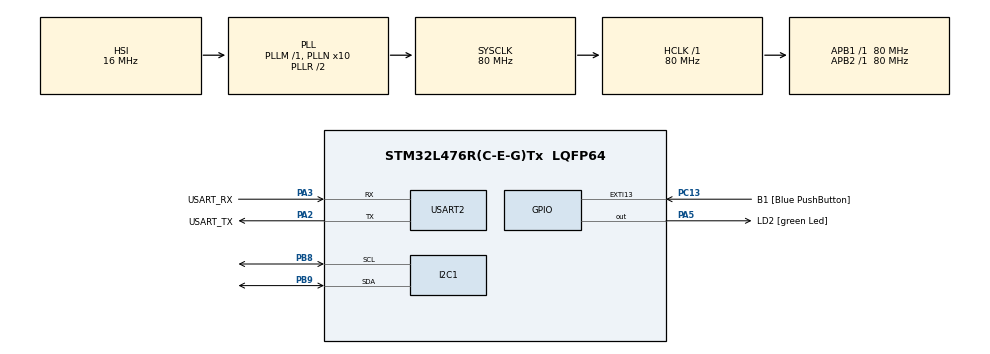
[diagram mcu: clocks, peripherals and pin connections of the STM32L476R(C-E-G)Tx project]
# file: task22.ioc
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I2C1.Timing=0x10909CEC
Mcu.Family=STM32L4
Mcu.Name=STM32L476R(C-E-G)Tx
Mcu.Package=LQFP64
NVIC.PriorityGroup=NVIC_PRIORITYGROUP_4
PA13\ (JTMS-SWDIO).GPIO_Label=TMS
PA13\ (JTMS-SWDIO).Mode=Serial_Wire
PA13\ (JTMS-SWDIO).Signal=SYS_JTMS-SWDIO
PA14\ (JTCK-SWCLK).GPIO_Label=TCK
PA14\ (JTCK-SWCLK).Mode=Serial_Wire
PA14\ (JTCK-SWCLK).Signal=SYS_JTCK-SWCLK
PA2.GPIO_Label=USART_TX
PA2.GPIO_Mode=GPIO_MODE_AF_PP
PA2.GPIO_PuPd=GPIO_NOPULL
PA2.GPIO_Speed=GPIO_SPEED_FREQ_VERY_HIGH
PA2.Mode=Asynchronous
PA2.Signal=USART2_TX
PA3.GPIO_Label=USART_RX
PA3.GPIO_Mode=GPIO_MODE_AF_PP
PA3.GPIO_PuPd=GPIO_NOPULL
PA3.GPIO_Speed=GPIO_SPEED_FREQ_VERY_HIGH
PA3.Mode=Asynchronous
PA3.Signal=USART2_RX
PA5.GPIO_Label=LD2 [green Led]
PA5.GPIO_ModeDefaultOutputPP=GPIO_MODE_OUTPUT_PP
PA5.GPIO_PuPd=GPIO_NOPULL
PA5.GPIO_Speed=GPIO_SPEED_FREQ_LOW
PA5.Signal=GPIO_Output
PB3\ (JTDO-TRACESWO).GPIO_Label=SWO
PB3\ (JTDO-TRACESWO).Signal=SYS_JTDO-SWO
PB8.Mode=I2C
PB8.Signal=I2C1_SCL
PB9.Mode=I2C
PB9.Signal=I2C1_SDA
PC13.GPIO_Label=B1 [Blue PushButton]
PC13.GPIO_ModeDefaultEXTI=GPIO_MODE_IT_FALLING
PC13.GPIO_PuPd=GPIO_NOPULL
PC13.Signal=GPXTI13
PC14-OSC32_IN\ (PC14).Mode=LSE-External-Oscillator
PC14-OSC32_IN\ (PC14).Signal=RCC_OSC32_IN
PC15-OSC32_OUT\ (PC15).Mode=LSE-External-Oscillator
PC15-OSC32_OUT\ (PC15).Signal=RCC_OSC32_OUT
PH0-OSC_IN\ (PH0).Signal=RCC_OSC_IN
PH1-OSC_OUT\ (PH1).Signal=RCC_OSC_OUT
ProjectManager.HeapSize=0x200
ProjectManager.StackSize=0x400
ProjectManager.TargetToolchain=STM32CubeIDE
RCC.ADCFreq_Value=64000000
RCC.AHBFreq_Value=80000000
RCC.APB1Freq_Value=80000000
RCC.APB1TimFreq_Value=80000000
RCC.APB2Freq_Value=80000000
RCC.APB2TimFreq_Value=80000000
RCC.CortexFreq_Value=80000000
RCC.HCLKFreq_Value=80000000
RCC.HSE_VALUE=8000000
RCC.HSI_VALUE=16000000
RCC.MSI_VALUE=4000000
RCC.PLLN=10
RCC.PLLSourceVirtual=RCC_PLLSOURCE_HSI
RCC.PREFETCH_ENABLE=1
RCC.SYSCLKFreq_VALUE=80000000
RCC.SYSCLKSource=RCC_SYSCLKSOURCE_PLLCLK
RCC.USBFreq_Value=64000000
RCC.VCOOutputFreq_Value=160000000
TIM16.Prescaler=79
USART2.VirtualMode-Asynchronous=VM_ASYNC
VP_TIM16_VS_ClockSourceINT.Mode=Enable_Timer
board=NUCLEO-L476RG

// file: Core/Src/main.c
/* USER CODE BEGIN Header */
/**
  ******************************************************************************
  * @file           : main.c
  * @brief          : Main program body
  ******************************************************************************
  * @attention
  *
  * Copyright (c) 2022 STMicroelectronics.
  * All rights reserved.
  *
  * This software is licensed under terms that can be found in the LICENSE file
  * in the root directory of this software component.
  * If no LICENSE file comes with this software, it is provided AS-IS.
  *
  ******************************************************************************
  */
/* USER CODE END Header */
#include "main.h"

/* USER CODE BEGIN Includes */
#include <stdio.h>
#include <string.h>
/* USER CODE END Includes */

 I2C_HandleTypeDef hi2c1;

TIM_HandleTypeDef htim16;

UART_HandleTypeDef huart2;

void SystemClock_Config(void);
static void MX_GPIO_Init(void);
static void MX_USART2_UART_Init(void);
static void MX_TIM16_Init(void);
static void MX_I2C1_Init(void);

/* USER CODE BEGIN 0 */
int _write(int fd, char* ptr, int len) {
    HAL_UART_Transmit(&huart2, (uint8_t *) ptr, len, HAL_MAX_DELAY);
    return len;
}

/* USER CODE END 0 */

int main(void)
{

  /* MCU Configuration--------------------------------------------------------*/

  /* Reset of all peripherals, Initializes the Flash interface and the Systick. */
  HAL_Init();

  /* Configure the system clock */
  SystemClock_Config();

  /* Initialize all configured peripherals */
  MX_GPIO_Init();
  MX_USART2_UART_Init();
  MX_TIM16_Init();
  MX_I2C1_Init();
  /* USER CODE BEGIN 2 */
  const uint8_t flashData[100] = {1,2,3,4,5,6,7,8,9,10};
  uint8_t ramData[100] = {1,2,3,4,5,6,7,8,9,10};
  uint8_t destData[100];
  uint16_t timeStart;
  uint16_t timeEnd;

  HAL_TIM_Base_Start(&htim16);
  __HAL_TIM_SET_COUNTER(&htim16,0);
  timeStart = __HAL_TIM_GET_COUNTER(&htim16);
  memcpy(destData,flashData,/*strlen(flashData)+1*/64);
  HAL_TIM_Base_Stop_IT(&htim16);
  timeEnd = __HAL_TIM_GET_COUNTER(&htim16);

  printf("time memcpy flashData to destData=%d\n\r",timeEnd - timeStart);

  HAL_TIM_Base_Start(&htim16);
  __HAL_TIM_SET_COUNTER(&htim16,0);
  timeStart = __HAL_TIM_GET_COUNTER(&htim16);
  memcpy(destData,ramData,64);
  HAL_TIM_Base_Stop_IT(&htim16);
  timeEnd = __HAL_TIM_GET_COUNTER(&htim16);

  printf("time memcpy ramData to destData=%d\n\r",timeEnd - timeStart);

  HAL_TIM_Base_Start(&htim16);
  __HAL_TIM_SET_COUNTER(&htim16,0);
  timeStart = __HAL_TIM_GET_COUNTER(&htim16);
    //memcpy(destData,ramData,strlen(ramData)+1);
 // HAL_I2C_Mem_Write(&hi2c1, 0xD0, 20, 1, flashData, 64, 0xFF);
  int status;
  status = HAL_I2C_Mem_Read(&hi2c1, 0xD0,20, 1, (uint8_t*)ramData, 64, 0xFF);
    HAL_TIM_Base_Stop_IT(&htim16);
    timeEnd = __HAL_TIM_GET_COUNTER(&htim16);

    printf("time rtc ramData to destData=%d,status=%d\n\r",timeEnd - timeStart,status);
    printf("\n\r");

  /* USER CODE END 2 */

  /* Infinite loop */
  while (1)
  {

  }
}

void SystemClock_Config(void)
{
  RCC_OscInitTypeDef RCC_OscInitStruct = {0};
  RCC_ClkInitTypeDef RCC_ClkInitStruct = {0};

  /** Configure the main internal regulator output voltage
  */
  if (HAL_PWREx_ControlVoltageScaling(PWR_REGULATOR_VOLTAGE_SCALE1) != HAL_OK)
  {
    Error_Handler();
  }

  /** Initializes the RCC Oscillators according to the specified parameters
  * in the RCC_OscInitTypeDef structure.
  */
  RCC_OscInitStruct.OscillatorType = RCC_OSCILLATORTYPE_HSI;
  RCC_OscInitStruct.HSIState = RCC_HSI_ON;
  RCC_OscInitStruct.HSICalibrationValue = RCC_HSICALIBRATION_DEFAULT;
  RCC_OscInitStruct.PLL.PLLState = RCC_PLL_ON;
  RCC_OscInitStruct.PLL.PLLSource = RCC_PLLSOURCE_HSI;
  RCC_OscInitStruct.PLL.PLLM = 1;
  RCC_OscInitStruct.PLL.PLLN = 10;
  RCC_OscInitStruct.PLL.PLLP = RCC_PLLP_DIV7;
  RCC_OscInitStruct.PLL.PLLQ = RCC_PLLQ_DIV2;
  RCC_OscInitStruct.PLL.PLLR = RCC_PLLR_DIV2;
  if (HAL_RCC_OscConfig(&RCC_OscInitStruct) != HAL_OK)
  {
    Error_Handler();
  }

  /** Initializes the CPU, AHB and APB buses clocks
  */
  RCC_ClkInitStruct.ClockType = RCC_CLOCKTYPE_HCLK|RCC_CLOCKTYPE_SYSCLK
                              |RCC_CLOCKTYPE_PCLK1|RCC_CLOCKTYPE_PCLK2;
  RCC_ClkInitStruct.SYSCLKSource = RCC_SYSCLKSOURCE_PLLCLK;
  RCC_ClkInitStruct.AHBCLKDivider = RCC_SYSCLK_DIV1;
  RCC_ClkInitStruct.APB1CLKDivider = RCC_HCLK_DIV1;
  RCC_ClkInitStruct.APB2CLKDivider = RCC_HCLK_DIV1;

  if (HAL_RCC_ClockConfig(&RCC_ClkInitStruct, FLASH_LATENCY_4) != HAL_OK)
  {
    Error_Handler();
  }
}

static void MX_I2C1_Init(void)
{

  hi2c1.Instance = I2C1;
  hi2c1.Init.Timing = 0x10909CEC;
  hi2c1.Init.OwnAddress1 = 0;
  hi2c1.Init.AddressingMode = I2C_ADDRESSINGMODE_7BIT;
  hi2c1.Init.DualAddressMode = I2C_DUALADDRESS_DISABLE;
  hi2c1.Init.OwnAddress2 = 0;
  hi2c1.Init.OwnAddress2Masks = I2C_OA2_NOMASK;
  hi2c1.Init.GeneralCallMode = I2C_GENERALCALL_DISABLE;
  hi2c1.Init.NoStretchMode = I2C_NOSTRETCH_DISABLE;
  if (HAL_I2C_Init(&hi2c1) != HAL_OK)
  {
    Error_Handler();
  }

  /** Configure Analogue filter
  */
  if (HAL_I2CEx_ConfigAnalogFilter(&hi2c1, I2C_ANALOGFILTER_ENABLE) != HAL_OK)
  {
    Error_Handler();
  }

  /** Configure Digital filter
  */
  if (HAL_I2CEx_ConfigDigitalFilter(&hi2c1, 0) != HAL_OK)
  {
    Error_Handler();
  }

}

static void MX_TIM16_Init(void)
{

  htim16.Instance = TIM16;
  htim16.Init.Prescaler = 79;
  htim16.Init.CounterMode = TIM_COUNTERMODE_UP;
  htim16.Init.Period = 65535;
  htim16.Init.ClockDivision = TIM_CLOCKDIVISION_DIV1;
  htim16.Init.RepetitionCounter = 0;
  htim16.Init.AutoReloadPreload = TIM_AUTORELOAD_PRELOAD_DISABLE;
  if (HAL_TIM_Base_Init(&htim16) != HAL_OK)
  {
    Error_Handler();
  }

}

static void MX_USART2_UART_Init(void)
{

  huart2.Instance = USART2;
  huart2.Init.BaudRate = 115200;
  huart2.Init.WordLength = UART_WORDLENGTH_8B;
  huart2.Init.StopBits = UART_STOPBITS_1;
  huart2.Init.Parity = UART_PARITY_NONE;
  huart2.Init.Mode = UART_MODE_TX_RX;
  huart2.Init.HwFlowCtl = UART_HWCONTROL_NONE;
  huart2.Init.OverSampling = UART_OVERSAMPLING_16;
  huart2.Init.OneBitSampling = UART_ONE_BIT_SAMPLE_DISABLE;
  huart2.AdvancedInit.AdvFeatureInit = UART_ADVFEATURE_NO_INIT;
  if (HAL_UART_Init(&huart2) != HAL_OK)
  {
    Error_Handler();
  }

}

static void MX_GPIO_Init(void)
{
  GPIO_InitTypeDef GPIO_InitStruct = {0};

  /* GPIO Ports Clock Enable */
  __HAL_RCC_GPIOC_CLK_ENABLE();
  __HAL_RCC_GPIOH_CLK_ENABLE();
  __HAL_RCC_GPIOA_CLK_ENABLE();
  __HAL_RCC_GPIOB_CLK_ENABLE();

  /*Configure GPIO pin Output Level */
  HAL_GPIO_WritePin(LD2_GPIO_Port, LD2_Pin, GPIO_PIN_RESET);

  /*Configure GPIO pin : B1_Pin */
  GPIO_InitStruct.Pin = B1_Pin;
  GPIO_InitStruct.Mode = GPIO_MODE_IT_FALLING;
  GPIO_InitStruct.Pull = GPIO_NOPULL;
  HAL_GPIO_Init(B1_GPIO_Port, &GPIO_InitStruct);

  /*Configure GPIO pin : LD2_Pin */
  GPIO_InitStruct.Pin = LD2_Pin;
  GPIO_InitStruct.Mode = GPIO_MODE_OUTPUT_PP;
  GPIO_InitStruct.Pull = GPIO_NOPULL;
  GPIO_InitStruct.Speed = GPIO_SPEED_FREQ_LOW;
  HAL_GPIO_Init(LD2_GPIO_Port, &GPIO_InitStruct);

}

void Error_Handler(void)
{
  __disable_irq();
  while (1)
  {
  }
}
